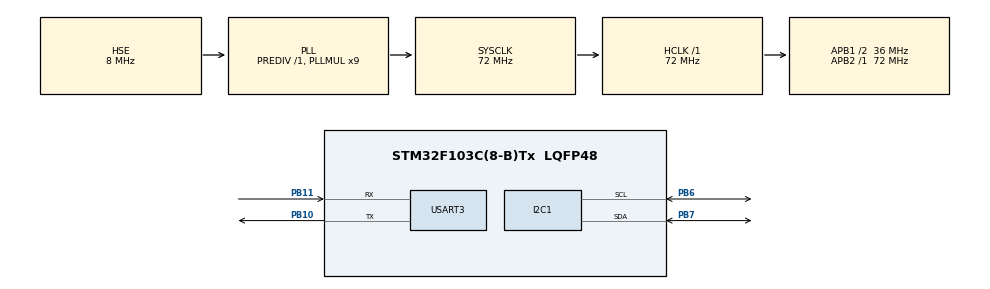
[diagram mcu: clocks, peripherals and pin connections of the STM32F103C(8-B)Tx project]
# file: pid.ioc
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I2C1.I2C_Mode=I2C_Fast
Mcu.Family=STM32F1
Mcu.Name=STM32F103C(8-B)Tx
Mcu.Package=LQFP48
NVIC.PriorityGroup=NVIC_PRIORITYGROUP_4
PB10.Mode=Asynchronous
PB10.Signal=USART3_TX
PB11.Mode=Asynchronous
PB11.Signal=USART3_RX
PB6.Mode=I2C
PB6.Signal=I2C1_SCL
PB7.Mode=I2C
PB7.Signal=I2C1_SDA
PD0-OSC_IN.Mode=HSE-External-Oscillator
PD0-OSC_IN.Signal=RCC_OSC_IN
PD1-OSC_OUT.Mode=HSE-External-Oscillator
PD1-OSC_OUT.Signal=RCC_OSC_OUT
ProjectManager.HeapSize=0x200
ProjectManager.StackSize=0x400
ProjectManager.TargetToolchain=STM32CubeIDE
RCC.AHBFreq_Value=72000000
RCC.APB1CLKDivider=RCC_HCLK_DIV2
RCC.APB1Freq_Value=36000000
RCC.APB1TimFreq_Value=72000000
RCC.APB2Freq_Value=72000000
RCC.APB2TimFreq_Value=72000000
RCC.HCLKFreq_Value=72000000
RCC.PLLMUL=RCC_PLL_MUL9
RCC.PLLSourceVirtual=RCC_PLLSOURCE_HSE
RCC.SYSCLKFreq_VALUE=72000000
RCC.SYSCLKSource=RCC_SYSCLKSOURCE_PLLCLK
RCC.USBFreq_Value=72000000
USART3.VirtualMode=VM_ASYNC
VP_SYS_VS_ND.Mode=No_Debug
board=custom

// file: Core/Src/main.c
/* USER CODE BEGIN Header */
/**
  ******************************************************************************
  * @file           : main.c
  * @brief          : Main program body
  ******************************************************************************
  * @attention
  *
  * Copyright (c) 2024 STMicroelectronics.
  * All rights reserved.
  *
  * This software is licensed under terms that can be found in the LICENSE file
  * in the root directory of this software component.
  * If no LICENSE file comes with this software, it is provided AS-IS.
  *
  ******************************************************************************
  */
/* USER CODE END Header */
#include "main.h"
#include "i2c.h"
#include "usart.h"
#include "gpio.h"

/* USER CODE BEGIN Includes */
#include <stdio.h>

#include "mpu6050.h"
#include "pid.h"
/* USER CODE END Includes */

/* USER CODE BEGIN PV */
MPU6050_t MPU6050;
PID_TypeDef TPID;
double Gz, PIDOut, GzSetPoint;
float AccErrorX, AccErrorY, AccErrorZ, GyroErrorX, GyroErrorY, GyroErrorZ;
/* USER CODE END PV */

void SystemClock_Config(void);
/* USER CODE BEGIN PFP */

int __io_putchar(int ch);
void calculate_IMU_error();
/* USER CODE END PFP */

int main(void)
{

  /* MCU Configuration--------------------------------------------------------*/

  /* Reset of all peripherals, Initializes the Flash interface and the Systick. */
  HAL_Init();

  /* Configure the system clock */
  SystemClock_Config();

  /* Initialize all configured peripherals */
  MX_GPIO_Init();
  MX_I2C1_Init();
  MX_USART3_UART_Init();
  /* USER CODE BEGIN 2 */
  printf("Initializing\r\n");
	HAL_Delay(500);
	while (MPU6050_Init(&hi2c1) == 1) {}
	printf("calculating error\r\n");
	calculate_IMU_error(MPU6050);
  PID(&TPID, &Gz, &PIDOut, &GzSetPoint, 2, 5, 1, _PID_P_ON_E, _PID_CD_DIRECT);

	PID_SetMode(&TPID, _PID_MODE_AUTOMATIC);
	PID_SetSampleTime(&TPID, 100);
	PID_SetOutputLimits(&TPID, -50, 50);
  /* USER CODE END 2 */

  /* Infinite loop */
  while (1)
  {

    /* USER CODE BEGIN 3 */
	MPU6050_Read_All(&hi2c1, &MPU6050);
	Gz = MPU6050.Gz - GyroErrorZ;
	PID_Compute(&TPID);

	printf("Gz \t %3.2f \t %3.2f\r\n", Gz, PIDOut);

	HAL_Delay(100);
  }
  /* USER CODE END 3 */
}

void SystemClock_Config(void)
{
  RCC_OscInitTypeDef RCC_OscInitStruct = {0};
  RCC_ClkInitTypeDef RCC_ClkInitStruct = {0};

  /** Initializes the RCC Oscillators according to the specified parameters
  * in the RCC_OscInitTypeDef structure.
  */
  RCC_OscInitStruct.OscillatorType = RCC_OSCILLATORTYPE_HSE;
  RCC_OscInitStruct.HSEState = RCC_HSE_ON;
  RCC_OscInitStruct.HSEPredivValue = RCC_HSE_PREDIV_DIV1;
  RCC_OscInitStruct.HSIState = RCC_HSI_ON;
  RCC_OscInitStruct.PLL.PLLState = RCC_PLL_ON;
  RCC_OscInitStruct.PLL.PLLSource = RCC_PLLSOURCE_HSE;
  RCC_OscInitStruct.PLL.PLLMUL = RCC_PLL_MUL9;
  if (HAL_RCC_OscConfig(&RCC_OscInitStruct) != HAL_OK)
  {
    Error_Handler();
  }

  /** Initializes the CPU, AHB and APB buses clocks
  */
  RCC_ClkInitStruct.ClockType = RCC_CLOCKTYPE_HCLK|RCC_CLOCKTYPE_SYSCLK
                              |RCC_CLOCKTYPE_PCLK1|RCC_CLOCKTYPE_PCLK2;
  RCC_ClkInitStruct.SYSCLKSource = RCC_SYSCLKSOURCE_PLLCLK;
  RCC_ClkInitStruct.AHBCLKDivider = RCC_SYSCLK_DIV1;
  RCC_ClkInitStruct.APB1CLKDivider = RCC_HCLK_DIV2;
  RCC_ClkInitStruct.APB2CLKDivider = RCC_HCLK_DIV1;

  if (HAL_RCC_ClockConfig(&RCC_ClkInitStruct, FLASH_LATENCY_2) != HAL_OK)
  {
    Error_Handler();
  }
}

/* USER CODE BEGIN 4 */
int __io_putchar(int ch) {
	HAL_UART_Transmit(&huart3, (uint8_t*) &ch, 1, HAL_MAX_DELAY);
	return (ch);
}

void calculate_IMU_error(MPU6050_t MPU6050) {
	int c = 0;
	int error_iterations = 10000;

	while (c < error_iterations) {
		MPU6050_Read_All(&hi2c1, &MPU6050);

		// Sum all readings
		AccErrorX = AccErrorX + MPU6050.Ax;
		AccErrorY = AccErrorY + MPU6050.Ay;
		AccErrorZ = AccErrorZ + (MPU6050.Az - 1);

		// Sum all readings
		GyroErrorX = GyroErrorX + MPU6050.Gx;
		GyroErrorY = GyroErrorY + MPU6050.Gy;
		GyroErrorZ = GyroErrorZ + MPU6050.Gz;
		c++;
	}
	//Divide the sum by 200 to get the error value
	AccErrorX = AccErrorX / error_iterations;
	AccErrorY = AccErrorY / error_iterations;
	AccErrorZ = AccErrorZ / error_iterations;
	//Divide the sum by 200 to get the error value
	GyroErrorX = GyroErrorX / error_iterations;
	GyroErrorY = GyroErrorY / error_iterations;
	GyroErrorZ = GyroErrorZ / error_iterations;
	// Print the error values on the Serial Monitor
}
/* USER CODE END 4 */

void Error_Handler(void)
{
  __disable_irq();
  while (1)
  {
  }
}
